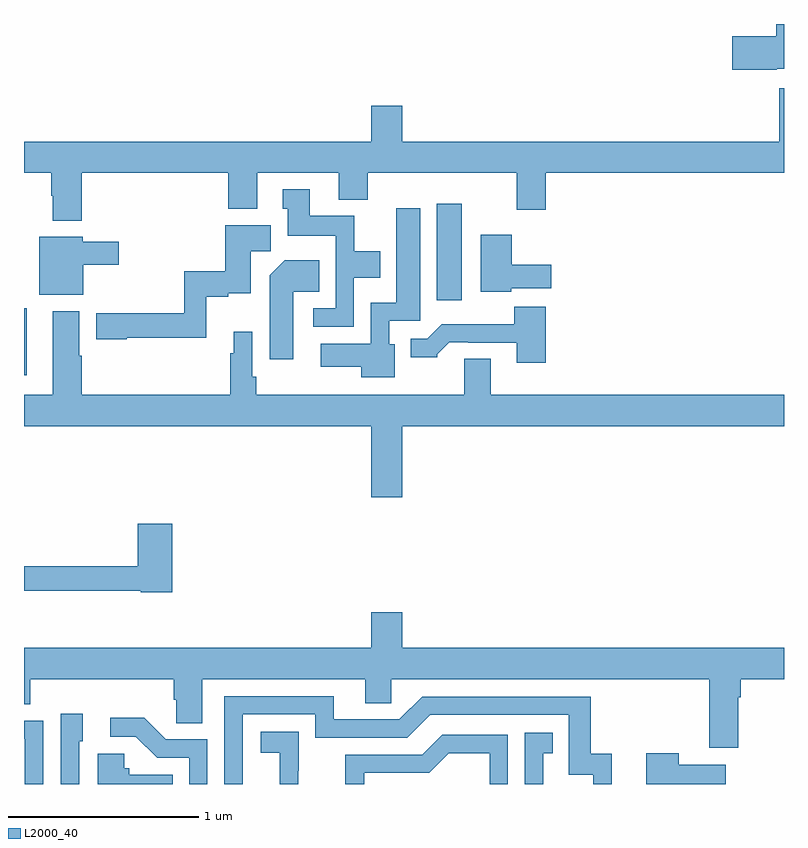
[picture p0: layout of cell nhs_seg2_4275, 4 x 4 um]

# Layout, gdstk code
import gdstk
lib = gdstk.Library(unit=1e-6, precision=1e-09)
def R(c, l, rs):  # rectangles x0, y0, x1, y1
    for r in rs: c.add(gdstk.rectangle(r[:2], r[2:], *l))
def P(c, l, *ps):  # polygons
    for p in ps: c.add(gdstk.Polygon(p, *l))
L2000_40 = (2000, 40)

nhs_seg2_4275 = lib.new_cell('nhs_seg2_4275')
R(nhs_seg2_4275, L2000_40, [(343,599.952,343.015,600.304), (345.173,600.345,345.304,600.853)])
P(nhs_seg2_4275, L2000_40, [(346.962,601.565),(347,601.565),(347,601.8),(346.958,601.8),(346.958,601.736),(346.728,601.736),(346.728,601.558),(346.962,601.558)],
  [(343.304,601.016),(344.075,601.016),(344.075,600.827),(344.227,600.827),(344.227,601.016),(344.657,601.016),(344.657,600.875),(344.81,600.875),(344.81,601.016),(345.593,601.016),(345.593,600.822),(345.746,600.822),(345.746,601.016),(347,601.016),(347,601.462),(346.974,601.462),(346.974,601.18),(344.992,601.18),(344.992,601.369),(344.828,601.369),(344.828,601.18),(343,601.18),(343,601.016),(343.144,601.016),(343.144,600.896),(343.151,600.896),(343.151,600.764),(343.304,600.764)],
  [(344.736,600.464),(344.875,600.464),(344.875,600.604),(344.739,600.604),(344.739,600.79),(344.503,600.79),(344.503,600.931),(344.363,600.931),(344.363,600.828),(344.387,600.828),(344.387,600.686),(344.64,600.686),(344.64,600.303),(344.523,600.303),(344.523,600.207),(344.736,600.207)],
  [(344.95,600.114),(344.922,600.114),(344.922,600.237),(345.085,600.237),(345.085,600.829),(344.96,600.829),(344.96,600.334),(344.826,600.334),(344.826,600.118),(344.562,600.118),(344.562,599.996),(344.774,599.996),(344.774,599.942),(344.95,599.942)],
  [(343.542,600.15),(343.96,600.15),(343.96,600.364),(344.076,600.364),(344.076,600.383),(344.194,600.383),(344.194,600.604),(344.299,600.604),(344.299,600.742),(344.06,600.742),(344.06,600.5),(343.843,600.5),(343.843,600.278),(343.38,600.278),(343.38,600.142),(343.542,600.142)],
  [(345.564,600.41),(345.775,600.41),(345.775,600.532),(345.568,600.532),(345.568,600.691),(345.404,600.691),(345.404,600.392),(345.564,600.392)],
  [(343.312,600.533),(343.498,600.533),(343.498,600.655),(343.308,600.655),(343.308,600.679),(343.079,600.679),(343.079,600.374),(343.312,600.374)],
  [(344.416,600.392),(344.555,600.392),(344.555,600.556),(344.372,600.556),(344.294,600.478),(344.294,600.036),(344.416,600.036)],
  [(345.746,600.313),(345.581,600.313),(345.581,600.22),(345.199,600.22),(345.123,600.144),(345.035,600.144),(345.035,600.047),(345.174,600.047),(345.174,600.062),(345.238,600.126),(345.337,600.126),(345.337,600.123),(345.593,600.123),(345.593,600.018),(345.746,600.018)],
  [(344.992,599.684),(347,599.684),(347,599.848),(345.457,599.848),(345.457,600.038),(345.317,600.038),(345.317,599.848),(344.222,599.848),(344.222,599.944),(344.202,599.944),(344.202,600.181),(344.105,600.181),(344.105,600.068),(344.086,600.068),(344.086,599.848),(343.304,599.848),(343.304,600.053),(343.291,600.053),(343.291,600.289),(343.151,600.289),(343.151,599.848),(343,599.848),(343,599.684),(344.828,599.684),(344.828,599.31),(344.992,599.31)],
  [(343.781,599.17),(343.598,599.17),(343.598,598.946),(343,598.946),(343,598.818),(343.614,598.818),(343.614,598.81),(343.781,598.81)],
  [(346.759,598.256),(346.772,598.256),(346.772,598.352),(347,598.352),(347,598.516),(344.992,598.516),(344.992,598.705),(344.828,598.705),(344.828,598.516),(343,598.516),(343,598.219),(343.034,598.219),(343.034,598.352),(343.787,598.352),(343.787,598.243),(343.8,598.243),(343.8,598.12),(343.939,598.12),(343.939,598.352),(344.795,598.352),(344.795,598.225),(344.934,598.225),(344.934,598.352),(346.607,598.352),(346.607,597.99),(346.759,597.99)],
  [(344.151,598.167),(344.532,598.167),(344.532,598.044),(345.018,598.044),(345.138,598.164),(345.867,598.164),(345.867,597.849),(345.996,597.849),(345.996,597.8),(346.094,597.8),(346.094,597.958),(345.983,597.958),(345.983,598.26),(345.096,598.26),(344.976,598.14),(344.629,598.14),(344.629,598.263),(344.055,598.263),(344.055,597.8),(344.151,597.8)],
  [(343.29,598.026),(343.309,598.026),(343.309,598.171),(343.194,598.171),(343.194,597.8),(343.29,597.8)],
  [(343.965,598.035),(343.746,598.035),(343.633,598.148),(343.455,598.148),(343.455,598.05),(343.589,598.05),(343.7,597.939),(343.869,597.939),(343.869,597.8),(343.965,597.8)],
  [(343.101,598.134),(343,598.134),(343,598.038),(343.005,598.038),(343.005,597.8),(343.101,597.8)],
  [(344.444,597.869),(344.445,597.869),(344.445,598.075),(344.247,598.075),(344.247,597.965),(344.345,597.965),(344.345,597.8),(344.444,597.8)],
  [(345.733,597.963),(345.782,597.963),(345.782,598.069),(345.636,598.069),(345.636,597.8),(345.733,597.8)],
  [(344.79,597.858),(345.132,597.858),(345.236,597.962),(345.45,597.962),(345.45,597.8),(345.546,597.8),(345.546,598.059),(345.2,598.059),(345.095,597.954),(344.692,597.954),(344.692,597.8),(344.79,597.8)],
  [(346.693,597.901),(346.445,597.901),(346.445,597.961),(346.274,597.961),(346.274,597.8),(346.693,597.8)],
  [(343.784,597.85),(343.554,597.85),(343.554,597.882),(343.527,597.882),(343.527,597.958),(343.388,597.958),(343.388,597.8),(343.784,597.8)])

lib.write_gds('nhs_seg2_4275.gds')
